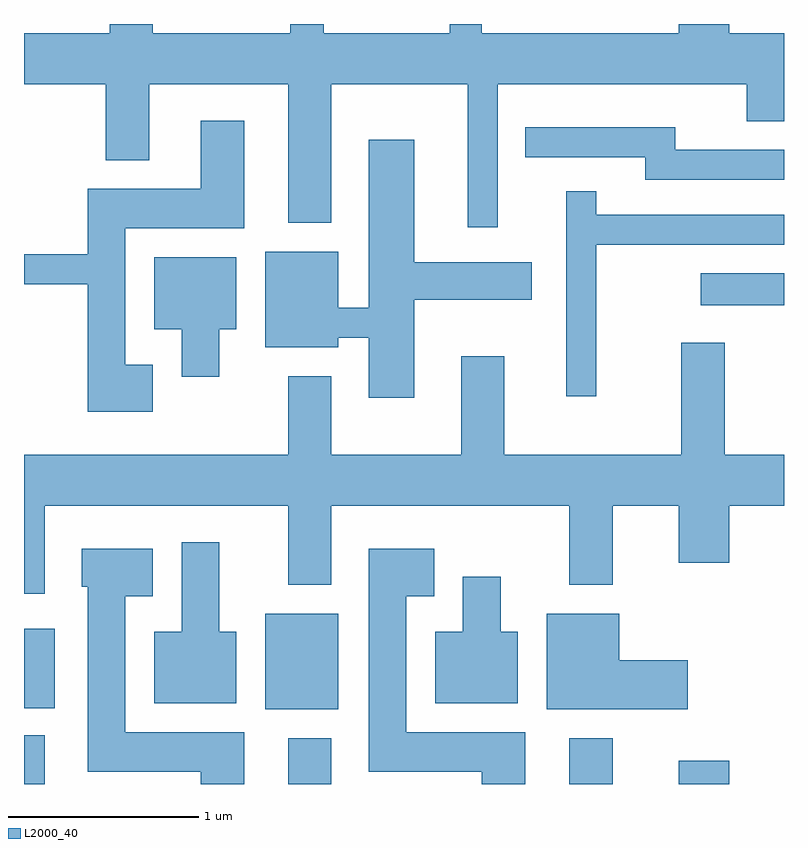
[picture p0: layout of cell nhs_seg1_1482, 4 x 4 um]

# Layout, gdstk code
import gdstk
lib = gdstk.Library(unit=1e-6, precision=1e-09)
def R(c, l, rs):  # rectangles x0, y0, x1, y1
    for r in rs: c.add(gdstk.rectangle(r[:2], r[2:], *l))
def P(c, l, *ps):  # polygons
    for p in ps: c.add(gdstk.Polygon(p, *l))
L2000_40 = (2000, 40)

nhs_seg1_1482 = lib.new_cell('nhs_seg1_1482')
R(nhs_seg1_1482, L2000_40, [(231.611,853.712,231.719,853.968), (233.001,853.712,233.229,853.954), (234.481,853.712,234.709,853.954), (235.056,853.712,235.324,853.834), (232.881,854.106,233.264,854.609), (231.611,854.111,231.774,854.529), (235.173,856.231,235.611,856.399)])
P(nhs_seg1_1482, L2000_40, [(234.104,857.396),(235.416,857.396),(235.416,857.201),(235.611,857.201),(235.611,857.664),(235.324,857.664),(235.324,857.712),(235.056,857.712),(235.056,857.664),(234.019,857.664),(234.019,857.712),(233.851,857.712),(233.851,857.664),(233.189,857.664),(233.189,857.712),(233.011,857.712),(233.011,857.664),(232.289,857.664),(232.289,857.712),(232.061,857.712),(232.061,857.664),(231.611,857.664),(231.611,857.396),(232.041,857.396),(232.041,856.996),(232.269,856.996),(232.269,857.396),(233.001,857.396),(233.001,856.666),(233.229,856.666),(233.229,857.396),(233.946,857.396),(233.946,856.643),(234.104,856.643)],
  [(232.289,855.919),(232.144,855.919),(232.144,856.636),(232.769,856.636),(232.769,857.204),(232.541,857.204),(232.541,856.844),(231.946,856.844),(231.946,856.499),(231.611,856.499),(231.611,856.341),(231.946,856.341),(231.946,855.671),(232.289,855.671)],
  [(235.611,857.049),(235.039,857.049),(235.039,857.169),(234.248,857.169),(234.248,857.011),(234.881,857.011),(234.881,856.891),(235.611,856.891)],
  [(233.664,856.261),(234.284,856.261),(234.284,856.459),(233.664,856.459),(233.664,857.104),(233.426,857.104),(233.426,856.219),(233.264,856.219),(233.264,856.514),(232.881,856.514),(232.881,856.011),(233.264,856.011),(233.264,856.061),(233.426,856.061),(233.426,855.746),(233.664,855.746)],
  [(234.624,856.551),(235.611,856.551),(235.611,856.709),(234.624,856.709),(234.624,856.833),(234.466,856.833),(234.466,855.753),(234.624,855.753)],
  [(232.639,856.106),(232.729,856.106),(232.729,856.484),(232.296,856.484),(232.296,856.106),(232.441,856.106),(232.441,855.856),(232.639,855.856)],
  [(231.719,855.176),(233.001,855.176),(233.001,854.761),(233.229,854.761),(233.229,855.176),(234.481,855.176),(234.481,854.761),(234.709,854.761),(234.709,855.176),(235.056,855.176),(235.056,854.876),(235.324,854.876),(235.324,855.176),(235.611,855.176),(235.611,855.444),(235.299,855.444),(235.299,856.034),(235.071,856.034),(235.071,855.444),(234.139,855.444),(234.139,855.964),(233.911,855.964),(233.911,855.444),(233.229,855.444),(233.229,855.859),(233.001,855.859),(233.001,855.444),(231.611,855.444),(231.611,854.713),(231.719,854.713)],
  [(232.729,854.514),(232.639,854.514),(232.639,854.984),(232.441,854.984),(232.441,854.514),(232.296,854.514),(232.296,854.136),(232.729,854.136)],
  [(232.769,853.984),(232.144,853.984),(232.144,854.701),(232.289,854.701),(232.289,854.949),(231.916,854.949),(231.916,854.751),(231.946,854.751),(231.946,853.776),(232.541,853.776),(232.541,853.712),(232.769,853.712)],
  [(234.249,853.984),(233.624,853.984),(233.624,854.701),(233.769,854.701),(233.769,854.949),(233.426,854.949),(233.426,853.776),(234.021,853.776),(234.021,853.712),(234.249,853.712)],
  [(234.209,854.514),(234.119,854.514),(234.119,854.804),(233.921,854.804),(233.921,854.514),(233.776,854.514),(233.776,854.136),(234.209,854.136)],
  [(235.104,854.364),(234.744,854.364),(234.744,854.609),(234.361,854.609),(234.361,854.106),(235.104,854.106)])

lib.write_gds('nhs_seg1_1482.gds')
